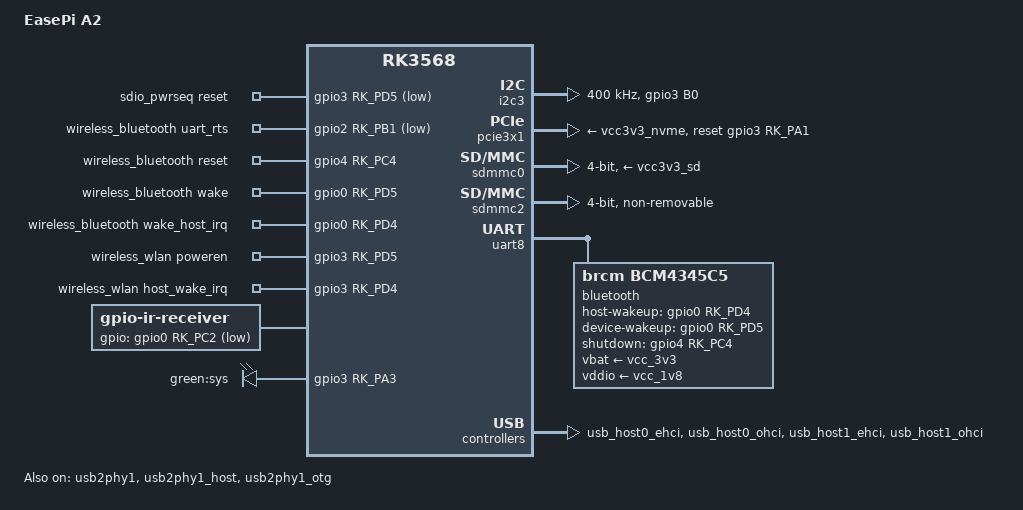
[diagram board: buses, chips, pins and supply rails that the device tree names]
// SPDX-License-Identifier: GPL-2.0-or-later OR MIT

/dts-v1/;

#include "rk3568-easepi-r1.dts"

/ {
	model = "EasePi A2";
	compatible = "easepi,a2", "rockchip,rk3568";
	eth_order = "0000:01:00.0";

	aliases {
		ethernet0 = &pcie_eth3;
		/delete-property/ ethernet1;
		/delete-property/ ethernet2;
		/delete-property/ ethernet3;

		mmc0 = &sdmmc0;
		mmc1 = &sdhci;
		mmc2 = &sdmmc2;
	};

	sdio_pwrseq: sdio-pwrseq {
		compatible = "mmc-pwrseq-simple";
		clocks = <&rk809 1>;
		clock-names = "ext_clock";
		pinctrl-names = "default";
		pinctrl-0 = <&wifi_enable_h>;

		/*
		* On the module itself this is one of these (depending
		* on the actual card populated):
		* - SDIO_RESET_L_WL_REG_ON
		* - PDN (power down when low)
		*/
		post-power-on-delay-ms = <200>;
		reset-gpios = <&gpio3 RK_PD5 GPIO_ACTIVE_LOW>;
		status = "okay";
	};

	wireless_bluetooth: wireless-bluetooth {
		compatible = "bluetooth-platdata";
		clocks = <&rk809 1>;
		clock-names = "ext_clock";
		//wifi-bt-power-toggle;
		uart_rts_gpios = <&gpio2 RK_PB1 GPIO_ACTIVE_LOW>;
		pinctrl-names = "default", "rts_gpio";
		pinctrl-0 = <&uart8m0_rtsn>;
		pinctrl-1 = <&uart8_gpios>;
		BT,reset_gpio	= <&gpio4 RK_PC4 GPIO_ACTIVE_HIGH>;
		BT,wake_gpio	 = <&gpio0 RK_PD5 GPIO_ACTIVE_HIGH>;
		BT,wake_host_irq = <&gpio0 RK_PD4 GPIO_ACTIVE_HIGH>;
		status = "okay";
	};

	wireless_wlan: wireless-wlan {
		compatible = "wlan-platdata";
		rockchip,grf = <&grf>;
		wifi_chip_type = "ap6255";
		WIFI,poweren_gpio = <&gpio3 RK_PD5 GPIO_ACTIVE_HIGH>;
		WIFI,host_wake_irq = <&gpio3 RK_PD4 GPIO_ACTIVE_HIGH>;
		pinctrl-names = "default";
		pinctrl-0 = <&wifi_host_wake_irq>;
		status = "okay";
	};

	ir-receiver {
		compatible = "gpio-ir-receiver";
		gpios = <&gpio0 RK_PC2 GPIO_ACTIVE_LOW>;
		pinctrl-names = "default";
		pinctrl-0 = <&ir_receiver_pin>;
	};
};

&chosen {
	/delete-property/ default-firewall;
};

&gmac0 {
	status = "disabled";
};

&gmac1 {
	status = "disabled";
};

// OLED
&i2c3 {
	pinctrl-0 = <&i2c3m1_xfer &oled_en>;

	i2c-scl-rising-time-ns = <160>;
	i2c-scl-falling-time-ns = <30>;
	clock-frequency = <400000>;

	status = "okay";
};

&pcie3x1 {
	reset-gpios = <&gpio3 RK_PA1 GPIO_ACTIVE_HIGH>;
	vpcie3v3-supply = <&vcc3v3_nvme>;
	/delete-node/ pcie@10;
};

&pinctrl {
	bluetooth {
		bt_shutdown_gpio: bt-shutdown-gpio {
			rockchip,pins = <4 RK_PC4 RK_FUNC_GPIO &pcfg_pull_none>;
		};
		bt_host_wake_gpio: bt-host-wake-gpio {
			rockchip,pins = <0 RK_PD4 RK_FUNC_GPIO &pcfg_pull_down>;
		};
		bt_device_wake_gpio: bt-device-wake-gpio {
			rockchip,pins = <0 RK_PD5 RK_FUNC_GPIO &pcfg_pull_none>;
		};
	};
	ir-receiver {
		ir_receiver_pin: ir-receiver-pin {
			rockchip,pins = <0 RK_PC2 RK_FUNC_GPIO &pcfg_pull_none>;
		};
	};

	oled {
		oled_en: oled-en {
			rockchip,pins = <3 RK_PB0 RK_FUNC_GPIO &pcfg_output_high>;
		};
	};

	sdio-pwrseq {
		wifi_enable_h: wifi-enable-h {
			rockchip,pins = <3 RK_PD5 RK_FUNC_GPIO &pcfg_pull_none>;
		};
	};
	wireless-bluetooth {
		uart8_gpios: uart8-gpios {
			rockchip,pins = <2 RK_PB1 RK_FUNC_GPIO &pcfg_pull_none>;
		};
	};
	wireless-wlan {
		wifi_host_wake_irq: wifi-host-wake-irq {
			rockchip,pins = <3 RK_PD4 RK_FUNC_GPIO &pcfg_pull_down>;
		};
	};
};

&sdmmc0 {
	max-frequency = <150000000>;
	no-sdio;
	no-mmc;
	bus-width = <4>;
	cap-mmc-highspeed;
	cap-sd-highspeed;
	disable-wp;
	vmmc-supply = <&vcc3v3_sd>;
	vqmmc-supply = <&vccio_sd>;
	pinctrl-names = "default";
	pinctrl-0 = <&sdmmc0_bus4 &sdmmc0_clk &sdmmc0_cmd &sdmmc0_det>;
	status = "okay";
};

&sdmmc2 {
	max-frequency = <150000000>;
	supports-sdio;
	bus-width = <4>;
	disable-wp;
	cap-sd-highspeed;
	cap-sdio-irq;
	keep-power-in-suspend;
	mmc-pwrseq = <&sdio_pwrseq>;
	non-removable;
	pinctrl-names = "default";
	pinctrl-0 = <&sdmmc2m0_bus4 &sdmmc2m0_cmd &sdmmc2m0_clk>;
	sd-uhs-sdr104;
	status = "okay";
};

&status_led {
	label = "green:sys";
	gpios = <&gpio3 RK_PA3 GPIO_ACTIVE_HIGH>;
};

&status_led_pin {
	rockchip,pins = <3 RK_PA3 RK_FUNC_GPIO &pcfg_pull_none>;
};

&uart8 {
	status = "okay";
	pinctrl-0 = <&uart8m0_xfer &uart8m0_ctsn &uart8m0_rtsn>;
	uart-has-rtscts;

	bluetooth {
		compatible = "brcm,bcm4345c5";
		clocks = <&rk809 1>;
		clock-names = "ext_clock";
		host-wakeup-gpios = <&gpio0 RK_PD4 GPIO_ACTIVE_HIGH>;
		device-wakeup-gpios = <&gpio0 RK_PD5 GPIO_ACTIVE_HIGH>;
		shutdown-gpios = <&gpio4 RK_PC4 GPIO_ACTIVE_HIGH>;
		max-speed = <1500000>;
		pinctrl-names = "default";
		pinctrl-0 = <&bt_host_wake_gpio &bt_device_wake_gpio &bt_shutdown_gpio>;
		vbat-supply = <&vcc_3v3>;
		vddio-supply = <&vcc_1v8>;
	};
};

&usb_host0_ehci {
	status = "okay";
};

&usb_host0_ohci {
	status = "okay";
};

&usb_host0_xhci {
	status = "disabled";
};

&usb_host1_ehci {
	status = "okay";
};

&usb_host1_ohci {
	status = "okay";
};

&usb2phy0_otg {
	vbus-supply = <&vcc5v0_sys>;
};

&usb2phy1 {
	status = "okay";
};

&usb2phy1_host {
	phy-supply = <&vcc5v0_sys>;
	status = "okay";
};

&usb2phy1_otg {
	phy-supply = <&vcc5v0_sys>;
	status = "okay";
};
